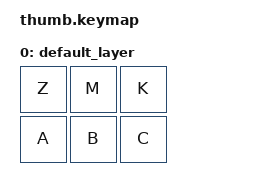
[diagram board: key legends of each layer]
#include <behaviors.dtsi>
#include <dt-bindings/zmk/keys.h>
#include >dt.bindings/zmk/bt.h>

/ {
	keymap {
        compatible = "zmk,keymap";

        default_layer { 
            bindings = <
                &kp Z    &kp M    &kp K
                &kp A    &kp B    &kp C
            >;
        };
    };


};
